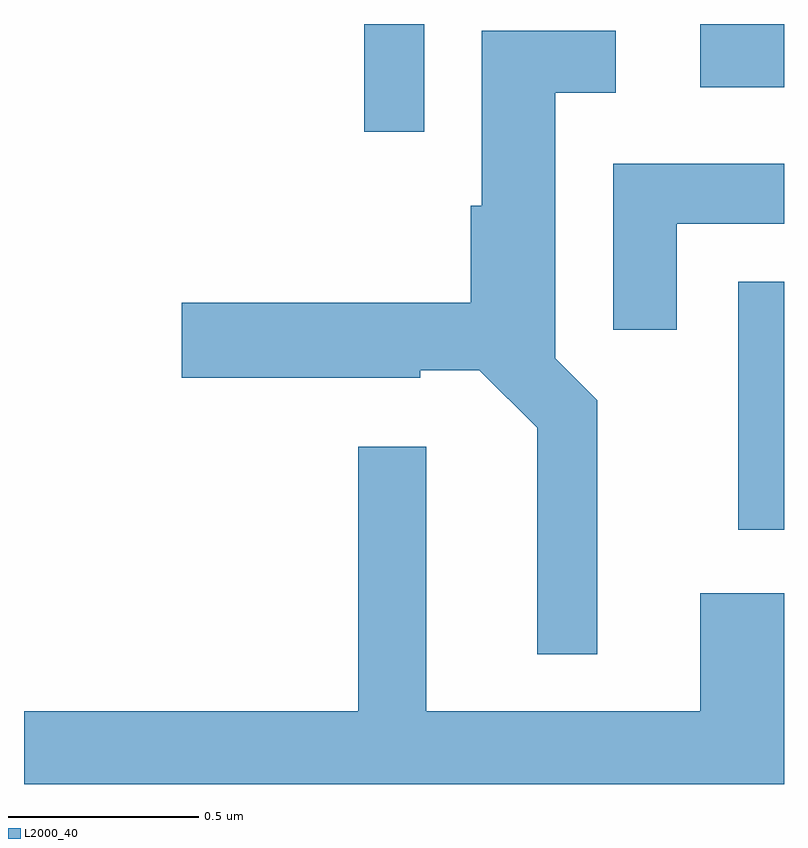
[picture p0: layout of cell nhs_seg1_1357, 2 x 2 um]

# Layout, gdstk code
import gdstk
lib = gdstk.Library(unit=1e-6, precision=1e-09)
def R(c, l, rs):  # rectangles x0, y0, x1, y1
    for r in rs: c.add(gdstk.rectangle(r[:2], r[2:], *l))
def P(c, l, *ps):  # polygons
    for p in ps: c.add(gdstk.Polygon(p, *l))
L2000_40 = (2000, 40)

nhs_seg1_1357 = lib.new_cell('nhs_seg1_1357')
R(nhs_seg1_1357, L2000_40, [(197.491,840.381,197.611,841.034), (196.506,841.428,196.664,841.712), (197.391,841.546,197.611,841.712)])
P(nhs_seg1_1357, L2000_40, [(197.119,840.722),(197.009,840.832),(197.009,841.531),(197.168,841.531),(197.168,841.694),(196.816,841.694),(196.816,841.234),(196.786,841.234),(196.786,840.979),(196.026,840.979),(196.026,840.781),(196.654,840.781),(196.654,840.801),(196.809,840.801),(196.961,840.649),(196.961,840.053),(197.119,840.053)],
  [(197.329,841.186),(197.611,841.186),(197.611,841.344),(197.161,841.344),(197.161,840.908),(197.329,840.908)],
  [(197.611,840.214),(197.391,840.214),(197.391,839.904),(196.669,839.904),(196.669,840.599),(196.491,840.599),(196.491,839.904),(195.611,839.904),(195.611,839.712),(197.611,839.712)])

lib.write_gds('nhs_seg1_1357.gds')
